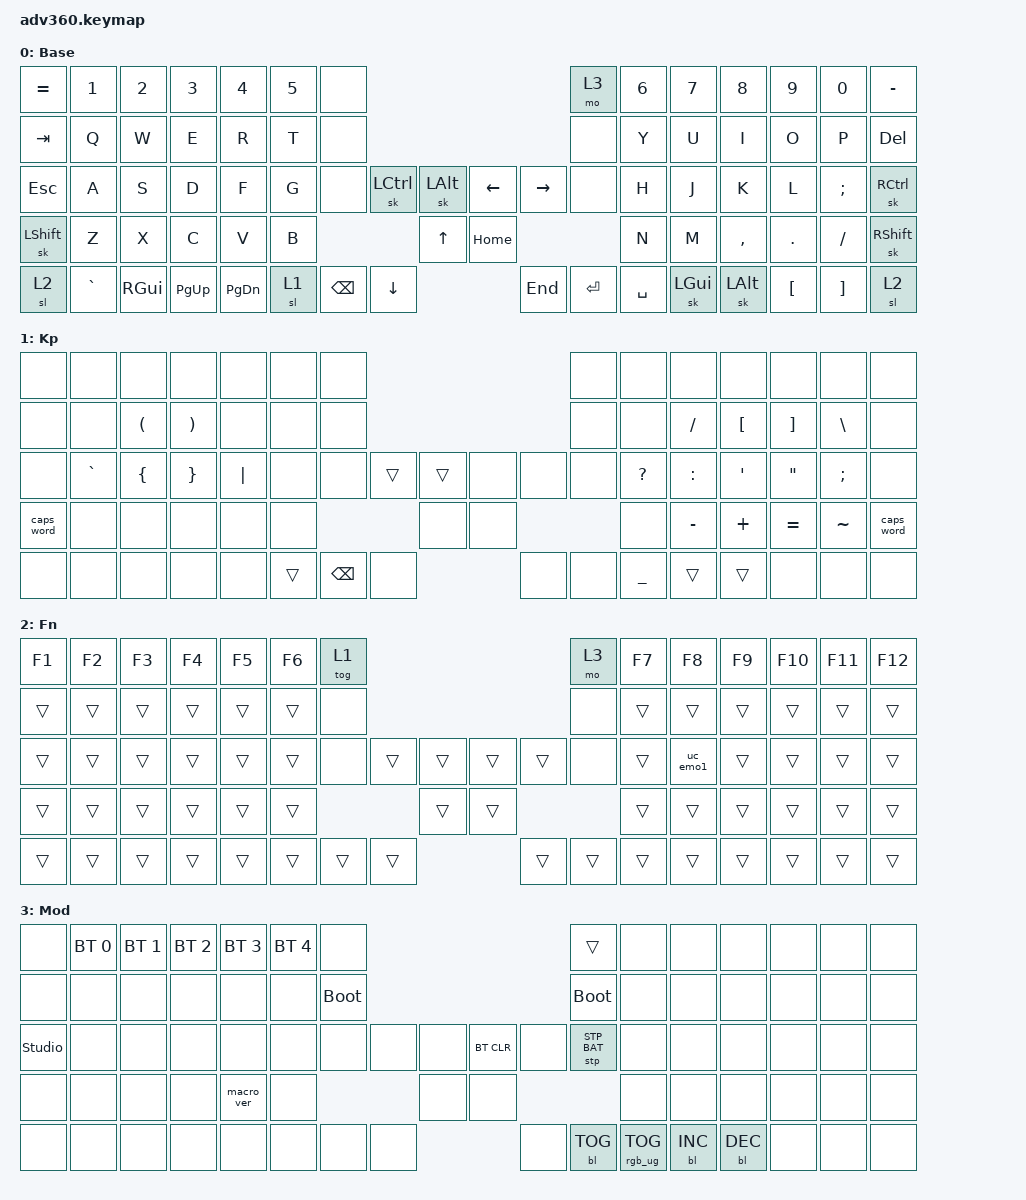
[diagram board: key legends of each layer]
#include <behaviors.dtsi>
#include <dt-bindings/zmk/keys.h>
#include <dt-bindings/zmk/bt.h>
#include <dt-bindings/zmk/rgb.h>
#include <dt-bindings/zmk/stp.h>
#include <dt-bindings/zmk/backlight.h>
#include <dt-bindings/zmk/pointing.h>

/ {
    behaviors {
      #include "macros.dtsi"
      #include "version.dtsi"

      hm: homerow_mods {
          compatible = "zmk,behavior-hold-tap";
          label = "HOMEROW_MODS";
          #binding-cells = <2>;
          tapping-term-ms = <200>;
          quick_tap_ms = <175>;
          flavor = "tap-preferred";
          bindings = <&kp>, <&kp>;
	  };
    };

	macros {
    	uc_emo1: uc_emo1 {
            label = "UNICODE_EMO1";
            compatible = "zmk,behavior-macro";
            #binding-cells = <0>;
            tap-ms = <0>;
            wait-ms = <0>;
            bindings
                = <&macro_press &kp LCTRL &kp LSHFT>
                , <&macro_tap &kp U>
                , <&macro_release &kp LCTRL &kp LSHFT>
                , <&macro_tap &kp N1 &kp F &kp N6 &kp N0 &kp N0 &kp SPC>
                ;
        };
    };


  keymap {
    compatible = "zmk,keymap";

    default_layer {
      display-name = "Base";
      bindings = <
        &kp EQUAL &kp N1    &kp N2   &kp N3    &kp N4     &kp N5 &none                                                            &mo 3 &kp N6 &kp N7   &kp N8    &kp N9   &kp N0   &kp MINUS
        &kp TAB   &kp Q     &kp W    &kp E     &kp R      &kp T  &none                                                            &none &kp Y  &kp U    &kp I     &kp O    &kp P    &kp DEL
        &kp ESC   &kp A     &kp S    &kp D     &kp F      &kp G  &none          &sk LCTRL &sk LALT   &kp LEFT &kp RIGHT           &none &kp H  &kp J    &kp K     &kp L    &kp SEMI &sk RCTRL
        &sk LSHFT &kp Z     &kp X    &kp C     &kp V      &kp B                           &kp UP     &kp HOME                           &kp N  &kp M    &kp COMMA &kp DOT  &kp FSLH &sk RSHFT
        &sl 2     &kp GRAVE &kp RGUI &kp PG_UP &kp PG_DN                  &sl 1 &kp BSPC  &kp DOWN   &kp END  &kp ENTER &kp SPACE              &sk LGUI &sk LALT  &kp LBKT &kp RBKT &sl 2
      >;
    };
    keypad {
      display-name = "Kp";
      bindings = <
        &none      &none     &none     &none     &none     &none  &none                                                 &none &none     &none     &none     &none     &none     &none
        &none      &none     &kp LPAR  &kp RPAR  &none     &none  &none                                                 &none &none     &kp FSLH  &kp LBKT  &kp RBKT  &kp BSLH  &none
        &none      &kp GRAVE &kp LBRC  &kp RBRC  &kp PIPE  &none  &none          &trans &trans  &none &none             &none &kp QMARK &kp COLON &kp SQT   &kp DQT   &kp SEMI  &none
        &caps_word &none     &none     &none     &none     &none                        &none   &none                         &none     &kp MINUS &kp PLUS  &kp EQUAL &kp TILDE &caps_word
        &none      &none     &none     &none     &none                  &trans &kp BSPC &none   &none &none &kp UNDER                   &trans    &trans    &none     &none     &none
      >;
    };
    fn {
      display-name = "Fn";
      bindings = <
        &kp F1 &kp F2 &kp F3 &kp F4 &kp F5 &kp F6 &tog 1                                           &mo 3 &kp F7 &kp F8   &kp F9 &kp F10 &kp F11 &kp F12
        &trans &trans &trans &trans &trans &trans  &none                                           &none &trans &trans   &trans &trans  &trans  &trans
        &trans &trans &trans &trans &trans &trans  &none        &trans &trans &trans &trans        &none &trans &uc_emo1 &trans &trans  &trans  &trans
        &trans &trans &trans &trans &trans &trans                      &trans &trans                     &trans &trans   &trans &trans  &trans  &trans
        &trans &trans &trans &trans &trans               &trans &trans &trans &trans &trans &trans              &trans   &trans &trans  &trans  &trans
      >;
    };
    mod {
      display-name = "Mod";
      bindings = <
        &none &bt BT_SEL 0 &bt BT_SEL 1 &bt BT_SEL 2 &bt BT_SEL 3 &bt BT_SEL 4 &none                                                                     &trans                 &none        &none        &none        &none &none &none
        &none &none        &none        &none        &none        &none        &bootloader                                                               &bootloader            &none        &none        &none        &none &none &none
        &studio_unlock &none        &none        &none        &none        &none        &none                   &none &none &bt BT_CLR &none                      &stp STP_BAT &none        &none        &none        &none &none &none
        &none &none        &none        &none        &macro_ver   &none                                      &none &none                                                        &none        &none        &none        &none &none &none
        &none &none        &none        &none        &none                                       &none &none &none &none      &bl BL_TOG &rgb_ug RGB_TOG                                     &bl BL_INC   &bl BL_DEC   &none &none &none
      >;
    };
    extra1 { 
      display-name = "Red";    
      status = "reserved";
    };

    extra2 { 
      display-name = "Purple";    
      status = "reserved";
    };

    extra3 { 
      display-name = "Cyan";    
      status = "reserved";
    };

    extra4 { 
      display-name = "Yellow";    
      status = "reserved";
    };
  };
};
